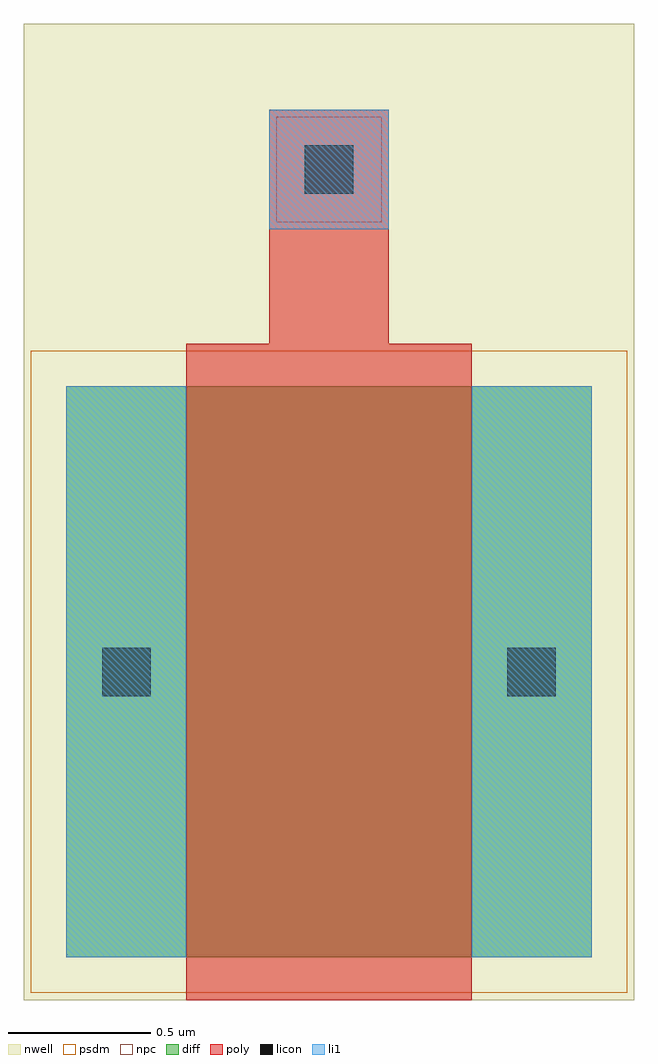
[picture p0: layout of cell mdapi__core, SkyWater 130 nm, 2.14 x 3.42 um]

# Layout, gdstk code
import gdstk
lib = gdstk.Library(unit=1e-6, precision=1e-09)
def R(c, l, rs):  # rectangles x0, y0, x1, y1
    for r in rs: c.add(gdstk.rectangle(r[:2], r[2:], *l))
nwell = (64, 20)
diff = (65, 20)
poly = (66, 20)
licon = (66, 44)
li1 = (67, 20)
psdm = (94, 20)
npc = (95, 20)

mdapi__core = lib.new_cell('mdapi__core')
R(mdapi__core, nwell, [(-0.15,-0.15,1.99,3.27)])
R(mdapi__core, diff, [(0,0,1.84,2)])
R(mdapi__core, poly, [(0.42,-0.15,1.42,2), (0.42,2,1.42,2.15), (0.42,2,1.42,2.15), (0.71,2.15,1.13,2.97)])
R(mdapi__core, licon, [(0.125,0.915,0.295,1.085), (1.545,0.915,1.715,1.085), (0.835,2.675,1.005,2.845)])
R(mdapi__core, li1, [(0,0,0.42,2), (1.42,0,1.84,2), (0.71,2.55,1.13,2.97)])
R(mdapi__core, psdm, [(-0.125,-0.125,1.965,2.125)])
R(mdapi__core, npc, [(0.735,2.575,1.105,2.945)])

lib.write_gds('mdapi__core.gds')
